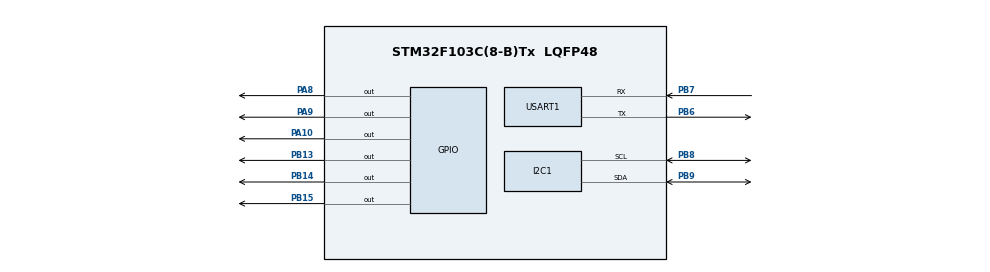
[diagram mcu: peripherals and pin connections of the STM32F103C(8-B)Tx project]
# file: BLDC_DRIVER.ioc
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Mcu.Family=STM32F1
Mcu.Name=STM32F103C(8-B)Tx
Mcu.Package=LQFP48
NVIC.PriorityGroup=NVIC_PRIORITYGROUP_4
PA10.Signal=GPIO_Output
PA13.Mode=Serial_Wire
PA13.Signal=SYS_JTMS-SWDIO
PA14.Mode=Serial_Wire
PA14.Signal=SYS_JTCK-SWCLK
PA8.Signal=GPIO_Output
PA9.Signal=GPIO_Output
PB13.Signal=GPIO_Output
PB14.Signal=GPIO_Output
PB15.Signal=GPIO_Output
PB6.Mode=Asynchronous
PB6.Signal=USART1_TX
PB7.Mode=Asynchronous
PB7.Signal=USART1_RX
PB8.Mode=I2C
PB8.Signal=I2C1_SCL
PB9.Mode=I2C
PB9.Signal=I2C1_SDA
ProjectManager.HeapSize=0x200
ProjectManager.StackSize=0x400
ProjectManager.TargetToolchain=STM32CubeIDE
RCC.APB1Freq_Value=8000000
RCC.APB2Freq_Value=8000000
USART1.VirtualMode=VM_ASYNC
board=custom

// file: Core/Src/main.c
/* USER CODE BEGIN Header */
/**
  ******************************************************************************
  * @file           : main.c
  * @brief          : Main program body
  ******************************************************************************
  * @attention
  *
  * Copyright (c) 2022 STMicroelectronics.
  * All rights reserved.
  *
  * This software is licensed under terms that can be found in the LICENSE file
  * in the root directory of this software component.
  * If no LICENSE file comes with this software, it is provided AS-IS.
  *
  ******************************************************************************
  */
/* USER CODE END Header */
#include "main.h"

/* USER CODE BEGIN Includes */
#include "string.h"
#include "stdio.h"
/* USER CODE END Includes */

I2C_HandleTypeDef hi2c1;

UART_HandleTypeDef huart1;

/* USER CODE BEGIN PV */
static const uint8_t SLAVE_ADDR = 0x36 << 1;
static const uint8_t DATA1_ADDR = 0x0E;
static const uint8_t DATA2_ADDR = 0x0F;
/* USER CODE END PV */

void SystemClock_Config(void);
static void MX_GPIO_Init(void);
static void MX_I2C1_Init(void);
static void MX_USART1_UART_Init(void);

int main(void)
{
  /* USER CODE BEGIN 1 */
  HAL_StatusTypeDef ret;
  uint8_t buf[12];
  uint8_t data[12];

  /* USER CODE END 1 */

  /* MCU Configuration--------------------------------------------------------*/

  /* Reset of all peripherals, Initializes the Flash interface and the Systick. */
  HAL_Init();

  /* Configure the system clock */
  SystemClock_Config();

  /* Initialize all configured peripherals */
  MX_GPIO_Init();
  MX_I2C1_Init();
  MX_USART1_UART_Init();
  /* USER CODE BEGIN 2 */
//  HAL_TIM_PWM_Start(&htim4, TIM_CHANNEL_2);

//  HAL_TIMEx_PWMN_Start(&htim1, 	TIM_CHANNEL_1);
//  HAL_TIM_PWM_Start(&htim1, 	TIM_CHANNEL_2);
//  HAL_TIMEx_PWMN_Start(&htim1, 	TIM_CHANNEL_3);

  HAL_GPIO_WritePin(GPIOB, GPIO_PIN_14, GPIO_PIN_SET);
  HAL_GPIO_WritePin(GPIOA, GPIO_PIN_8, GPIO_PIN_SET);
  HAL_GPIO_WritePin(GPIOA, GPIO_PIN_10, GPIO_PIN_SET);

  /* USER CODE END 2 */

  /* Infinite loop */
  /* USER CODE BEGIN WHILE */
  while (1)
  {
//	//1:  x  1  0
//	  HAL_GPIO_WritePin(GPIOB, GPIO_PIN_14, GPIO_PIN_RESET);
//	  HAL_GPIO_WritePin(GPIOA, GPIO_PIN_8, 	GPIO_PIN_SET);
//	  HAL_GPIO_WritePin(GPIOA, GPIO_PIN_10, GPIO_PIN_SET);
//
//	  HAL_GPIO_WritePin(GPIOB, GPIO_PIN_13, GPIO_PIN_SET);
//	  HAL_GPIO_WritePin(GPIOB, GPIO_PIN_15, GPIO_PIN_SET);
//	  HAL_GPIO_WritePin(GPIOA, GPIO_PIN_9,  GPIO_PIN_RESET);
//	  HAL_Delay(50);
//	//2:  1  x  0
//	  HAL_GPIO_WritePin(GPIOB, GPIO_PIN_14, GPIO_PIN_SET);
//	  HAL_GPIO_WritePin(GPIOA, GPIO_PIN_8, 	GPIO_PIN_RESET);
//	  HAL_GPIO_WritePin(GPIOA, GPIO_PIN_10, GPIO_PIN_SET);
//
//	  HAL_GPIO_WritePin(GPIOB, GPIO_PIN_13, GPIO_PIN_SET);
//	  HAL_GPIO_WritePin(GPIOB, GPIO_PIN_15, GPIO_PIN_SET);
//	  HAL_GPIO_WritePin(GPIOA, GPIO_PIN_9,  GPIO_PIN_RESET);
//	  HAL_Delay(50);
//	//3:  1  0  x
//	  HAL_GPIO_WritePin(GPIOB, GPIO_PIN_14, GPIO_PIN_SET);
//	  HAL_GPIO_WritePin(GPIOA, GPIO_PIN_8, 	GPIO_PIN_SET);
//	  HAL_GPIO_WritePin(GPIOA, GPIO_PIN_10, GPIO_PIN_RESET);
//
//	  HAL_GPIO_WritePin(GPIOB, GPIO_PIN_13, GPIO_PIN_SET);
//	  HAL_GPIO_WritePin(GPIOB, GPIO_PIN_15, GPIO_PIN_RESET);
//	  HAL_GPIO_WritePin(GPIOA, GPIO_PIN_9,  GPIO_PIN_SET);
//	  HAL_Delay(50);
//	//4:  x  0  1
//	  HAL_GPIO_WritePin(GPIOB, GPIO_PIN_14, GPIO_PIN_RESET);
//	  HAL_GPIO_WritePin(GPIOA, GPIO_PIN_8, 	GPIO_PIN_SET);
//	  HAL_GPIO_WritePin(GPIOA, GPIO_PIN_10, GPIO_PIN_SET);
//
//	  HAL_GPIO_WritePin(GPIOB, GPIO_PIN_13, GPIO_PIN_SET);
//	  HAL_GPIO_WritePin(GPIOB, GPIO_PIN_15, GPIO_PIN_RESET);
//	  HAL_GPIO_WritePin(GPIOA, GPIO_PIN_9,  GPIO_PIN_SET);
//	  HAL_Delay(50);
//	//5:  0  x  1
//	  HAL_GPIO_WritePin(GPIOB, GPIO_PIN_14, GPIO_PIN_SET);
//	  HAL_GPIO_WritePin(GPIOA, GPIO_PIN_8, 	GPIO_PIN_RESET);
//	  HAL_GPIO_WritePin(GPIOA, GPIO_PIN_10, GPIO_PIN_SET);
//
//	  HAL_GPIO_WritePin(GPIOB, GPIO_PIN_13, GPIO_PIN_RESET);
//	  HAL_GPIO_WritePin(GPIOB, GPIO_PIN_15, GPIO_PIN_SET);
//	  HAL_GPIO_WritePin(GPIOA, GPIO_PIN_9,  GPIO_PIN_SET);
//	  HAL_Delay(50);
//	//6:  0  1  x
//	  HAL_GPIO_WritePin(GPIOB, GPIO_PIN_14, GPIO_PIN_SET);
//	  HAL_GPIO_WritePin(GPIOA, GPIO_PIN_8, 	GPIO_PIN_SET);
//	  HAL_GPIO_WritePin(GPIOA, GPIO_PIN_10, GPIO_PIN_RESET);
//
//	  HAL_GPIO_WritePin(GPIOB, GPIO_PIN_13, GPIO_PIN_RESET);
//	  HAL_GPIO_WritePin(GPIOB, GPIO_PIN_15, GPIO_PIN_SET);
//	  HAL_GPIO_WritePin(GPIOA, GPIO_PIN_9,  GPIO_PIN_SET);
//	  HAL_Delay(50);

	  // Tell TMP102 that we want to read from the temperature register
	 buf[0] = 0x00;

	// Read 2 bytes from the temperature register
	ret = HAL_I2C_Master_Transmit(&hi2c1, SLAVE_ADDR, buf, 2, HAL_MAX_DELAY);
	if ( ret != HAL_OK ) {
		strcpy((char*)buf, "Error T\r\n");
		HAL_UART_Transmit(&huart1, buf, strlen((char*)buf), HAL_MAX_DELAY);
	}
	else
	{
		uint8_t DataRead1=0;
		uint8_t DataRead2=0;
		uint16_t Data;
		HAL_I2C_Mem_Read(&hi2c1,SLAVE_ADDR,0x0F,1,&DataRead1,1,100);
		HAL_I2C_Mem_Read(&hi2c1,SLAVE_ADDR,0x0E,1,&DataRead2,1,100);
		Data = (int)((float)(DataRead1 + DataRead2 << 8)/4096*360);

//		strcpy((char*)buf, Data);
		HAL_UART_Transmit(&huart1, Data, strlen((uint16_t)Data), HAL_MAX_DELAY);

	}

	// Wait
	HAL_Delay(500);

//    strcpy((char*)buf, "Hello!\r\n");
//    HAL_UART_Transmit(&huart1, buf, strlen((char*)buf), HAL_MAX_DELAY);
//    HAL_Delay(500);
    /* USER CODE END WHILE */

  }
}

void SystemClock_Config(void)
{
  RCC_OscInitTypeDef RCC_OscInitStruct = {0};
  RCC_ClkInitTypeDef RCC_ClkInitStruct = {0};

  /** Initializes the RCC Oscillators according to the specified parameters
  * in the RCC_OscInitTypeDef structure.
  */
  RCC_OscInitStruct.OscillatorType = RCC_OSCILLATORTYPE_HSI;
  RCC_OscInitStruct.HSIState = RCC_HSI_ON;
  RCC_OscInitStruct.HSICalibrationValue = RCC_HSICALIBRATION_DEFAULT;
  RCC_OscInitStruct.PLL.PLLState = RCC_PLL_NONE;
  if (HAL_RCC_OscConfig(&RCC_OscInitStruct) != HAL_OK)
  {
    Error_Handler();
  }

  /** Initializes the CPU, AHB and APB buses clocks
  */
  RCC_ClkInitStruct.ClockType = RCC_CLOCKTYPE_HCLK|RCC_CLOCKTYPE_SYSCLK
                              |RCC_CLOCKTYPE_PCLK1|RCC_CLOCKTYPE_PCLK2;
  RCC_ClkInitStruct.SYSCLKSource = RCC_SYSCLKSOURCE_HSI;
  RCC_ClkInitStruct.AHBCLKDivider = RCC_SYSCLK_DIV1;
  RCC_ClkInitStruct.APB1CLKDivider = RCC_HCLK_DIV1;
  RCC_ClkInitStruct.APB2CLKDivider = RCC_HCLK_DIV1;

  if (HAL_RCC_ClockConfig(&RCC_ClkInitStruct, FLASH_LATENCY_0) != HAL_OK)
  {
    Error_Handler();
  }
}

static void MX_I2C1_Init(void)
{

  hi2c1.Instance = I2C1;
  hi2c1.Init.ClockSpeed = 100000;
  hi2c1.Init.DutyCycle = I2C_DUTYCYCLE_2;
  hi2c1.Init.OwnAddress1 = 0;
  hi2c1.Init.AddressingMode = I2C_ADDRESSINGMODE_7BIT;
  hi2c1.Init.DualAddressMode = I2C_DUALADDRESS_DISABLE;
  hi2c1.Init.OwnAddress2 = 0;
  hi2c1.Init.GeneralCallMode = I2C_GENERALCALL_DISABLE;
  hi2c1.Init.NoStretchMode = I2C_NOSTRETCH_DISABLE;
  if (HAL_I2C_Init(&hi2c1) != HAL_OK)
  {
    Error_Handler();
  }

}

static void MX_USART1_UART_Init(void)
{

  huart1.Instance = USART1;
  huart1.Init.BaudRate = 115200;
  huart1.Init.WordLength = UART_WORDLENGTH_8B;
  huart1.Init.StopBits = UART_STOPBITS_1;
  huart1.Init.Parity = UART_PARITY_NONE;
  huart1.Init.Mode = UART_MODE_TX_RX;
  huart1.Init.HwFlowCtl = UART_HWCONTROL_NONE;
  huart1.Init.OverSampling = UART_OVERSAMPLING_16;
  if (HAL_UART_Init(&huart1) != HAL_OK)
  {
    Error_Handler();
  }

}

static void MX_GPIO_Init(void)
{
  GPIO_InitTypeDef GPIO_InitStruct = {0};

  /* GPIO Ports Clock Enable */
  __HAL_RCC_GPIOB_CLK_ENABLE();
  __HAL_RCC_GPIOA_CLK_ENABLE();

  /*Configure GPIO pin Output Level */
  HAL_GPIO_WritePin(GPIOB, GPIO_PIN_13|GPIO_PIN_14|GPIO_PIN_15, GPIO_PIN_RESET);

  /*Configure GPIO pin Output Level */
  HAL_GPIO_WritePin(GPIOA, GPIO_PIN_8|GPIO_PIN_9|GPIO_PIN_10, GPIO_PIN_RESET);

  /*Configure GPIO pins : PB13 PB14 PB15 */
  GPIO_InitStruct.Pin = GPIO_PIN_13|GPIO_PIN_14|GPIO_PIN_15;
  GPIO_InitStruct.Mode = GPIO_MODE_OUTPUT_PP;
  GPIO_InitStruct.Pull = GPIO_NOPULL;
  GPIO_InitStruct.Speed = GPIO_SPEED_FREQ_LOW;
  HAL_GPIO_Init(GPIOB, &GPIO_InitStruct);

  /*Configure GPIO pins : PA8 PA9 PA10 */
  GPIO_InitStruct.Pin = GPIO_PIN_8|GPIO_PIN_9|GPIO_PIN_10;
  GPIO_InitStruct.Mode = GPIO_MODE_OUTPUT_PP;
  GPIO_InitStruct.Pull = GPIO_NOPULL;
  GPIO_InitStruct.Speed = GPIO_SPEED_FREQ_LOW;
  HAL_GPIO_Init(GPIOA, &GPIO_InitStruct);

}

void Error_Handler(void)
{
  __disable_irq();
  while (1)
  {
  }
}
